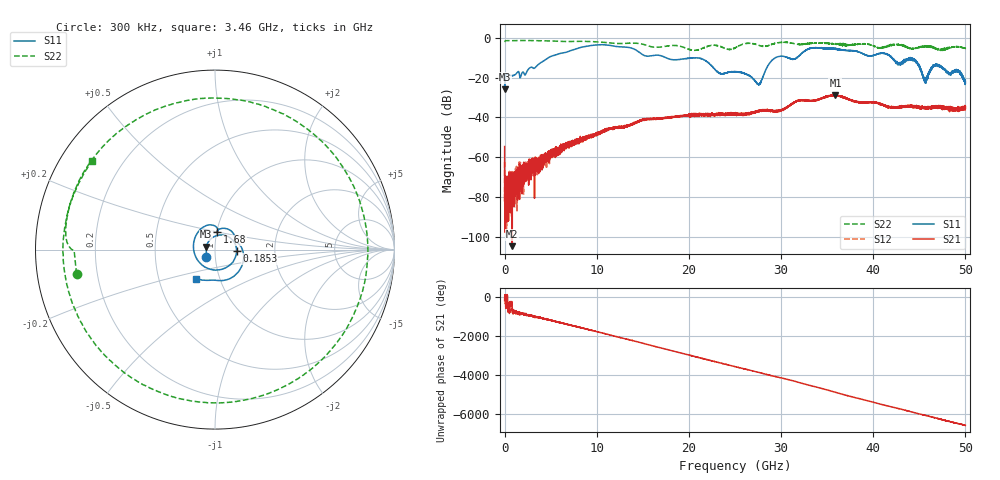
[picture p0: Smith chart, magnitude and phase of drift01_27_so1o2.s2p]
!Created with skrf (http://scikit-rf.org).
# Hz S RI R 50.0
!freq ReS11 ImS11 ReS21 ImS21 ReS12 ImS12 ReS22 ImS22
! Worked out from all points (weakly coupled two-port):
!   10001 points, 300 kHz to 50 GHz, reference 50 ohm
!   highest |S21| = -28.75 dB at 35.9 GHz (marker M1); lowest = -104.7 dB at 830.3 MHz (marker M2)
!   lowest |S11| = -25.8 dB at 5.3 MHz (marker M3), VSWR 1.11, Z = 45.3 + j1.42 ohm
!   |S11| at or under -10 dB: start of sweep to 4.765 GHz; 17.5 GHz to 29.41 GHz (11.91 GHz wide, 50.8 % of centre); 44.01 GHz to end of sweep (the widest 3 of 9)
!   |S22| runs from -6.4 to -1.4 dB; largest |S21 - S12| = 0.0045
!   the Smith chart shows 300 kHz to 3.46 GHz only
!   S11 on the Smith chart (normalised r, x): 300 kHz: 0.90, -0.08; 185.3 MHz: 1.27, -0.02; 1.68 GHz: 1.01, +0.20; 3.46 GHz: 0.77, -0.26
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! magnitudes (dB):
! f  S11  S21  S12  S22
! 300 kHz  -23.9  -54.7  -62.3  -2.1
! 5.3 MHz  -25.8  -82.2  -77.7  -2.1
! 185.3 MHz  -18.4  -71.3  -78.2  -1.4
! 830.3 MHz  -19.0  -104.7  -86.1  -1.5
! 1.68 GHz  -20.1  -70.2  -70.7  -1.4
! 3.46 GHz  -14.3  -62.2  -63.4  -1.5
! 8.335 GHz  -4.8  -50.6  -51.7  -1.8
! 16.67 GHz  -8.7  -40.9  -40.4  -4.8
! 21.16 GHz  -10.3  -39.0  -38.5  -5.9
! 23.36 GHz  -17.9  -38.6  -38.7  -4.3
! 25 GHz  -17.0  -38.0  -38.5  -5.1
! 27.59 GHz  -23.5  -36.8  -37.0  -3.8
! 29.28 GHz  -10.3  -36.9  -36.9  -2.8
! 31.45 GHz  -10.8  -32.2  -32.5  -3.0
! 33.34 GHz  -5.2  -31.8  -31.5  -2.7
! 35.9 GHz  -5.4  -28.8  -29.0  -3.0
! 41.67 GHz  -8.8  -34.7  -34.8  -4.3
! 42.76 GHz  -13.1  -35.0  -35.0  -3.4
! 44.4 GHz  -11.0  -34.9  -34.5  -5.3
! 45.63 GHz  -22.1  -35.3  -34.8  -4.3
! 46.87 GHz  -13.7  -35.0  -34.7  -5.3
! 50 GHz  -22.0  -34.5  -35.0  -5.4
